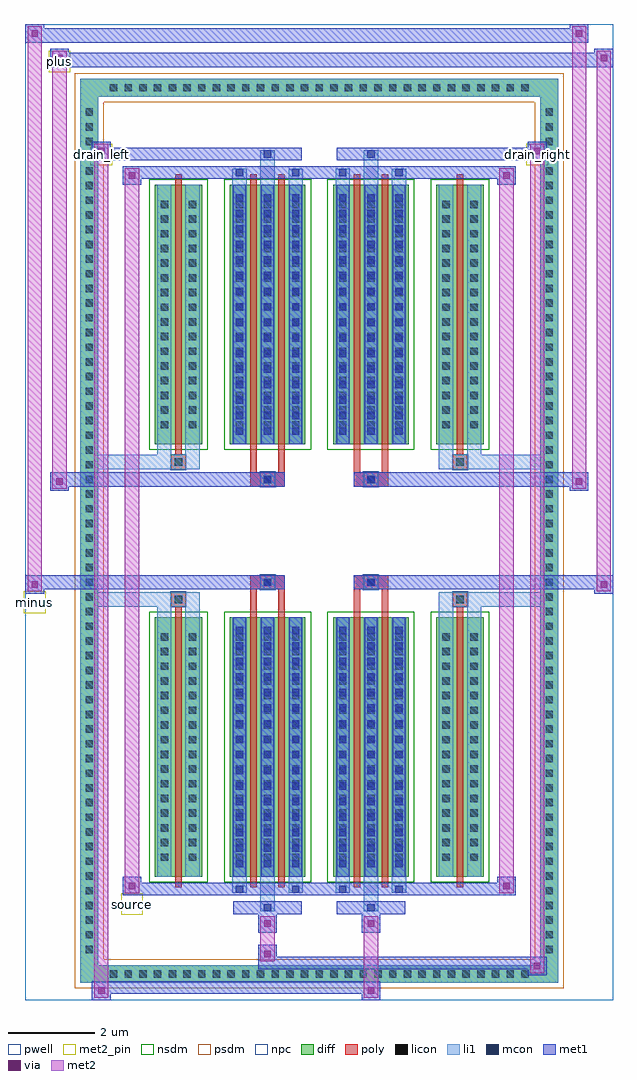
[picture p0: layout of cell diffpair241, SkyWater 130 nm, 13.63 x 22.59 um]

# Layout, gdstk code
import gdstk
lib = gdstk.Library(unit=1e-6, precision=5e-09)
def R(c, l, rs):  # rectangles x0, y0, x1, y1
    for r in rs: c.add(gdstk.rectangle(r[:2], r[2:], *l))
def A(c, l, x, y, w, h, nx, ny, dx, dy):  # array of equal rectangles
    R(c, l, [(x+i*dx, y+j*dy, x+i*dx+w, y+j*dy+h) for i in range(nx) for j in range(ny)])
def P(c, l, *ps):  # polygons
    for p in ps: c.add(gdstk.Polygon(p, *l))
pwell = (64, 44)
diff = (65, 20)
poly = (66, 20)
licon = (66, 44)
li1 = (67, 20)
mcon = (67, 44)
met1 = (68, 20)
via = (68, 44)
met2_pin = (69, 16)
met2 = (69, 20)
nsdm = (93, 44)
psdm = (94, 20)
npc = (95, 20)

diffpair241 = lib.new_cell('diffpair241')
R(diffpair241, pwell, [(-6.8,-10.86,6.8,11.73), (-4.12,-9.05,-0.01,-0.825), (0.01,-9.05,4.12,-0.825), (-4.12,0.825,-0.01,9.05), (0.01,0.825,4.12,9.05)])
A(diffpair241, diff, -4.965, -10.46, 0.41, 0.41, 29, 2, 0.34, 20.51)
A(diffpair241, diff, -5.53, -9.895, 0.41, 0.41, 1, 58, 0, 0.34)
A(diffpair241, diff, 5.12, -9.895, 0.41, 0.41, 1, 58, 0, 0.34)
R(diffpair241, diff, [(-4.965,-10.46,4.965,-10.05), (-5.53,-9.895,-5.12,9.895), (5.12,-9.895,5.53,9.895), (-3.81,-8.005,-2.71,-2.005), (-2.07,-8.005,-0.32,-2.005), (0.32,-8.005,2.07,-2.005), (2.71,-8.005,3.81,-2.005), (-3.81,2.005,-2.71,8.005), (-2.07,2.005,-0.32,8.005), (0.32,2.005,2.07,8.005), (2.71,2.005,3.81,8.005), (-4.965,10.05,4.965,10.46)])
P(diffpair241, diff, [(5.53,10.46),(-5.53,10.46),(-5.53,-10.05),(-5.12,-10.05),(-5.12,10.05),(5.12,10.05),(5.12,-10.05),(-5.12,-10.05),(-5.53,-10.05),(-5.53,-10.46),(5.53,-10.46)])
R(diffpair241, poly, [(-3.335,-8.255,-3.185,-1.755), (-1.595,-8.255,-1.445,-1.755), (-0.945,-8.255,-0.795,-1.755), (0.795,-8.255,0.945,-1.755), (1.445,-8.255,1.595,-1.755), (3.185,-8.255,3.335,-1.755), (-3.425,-1.755,-3.095,-1.425), (-3.425,-1.755,-3.095,-1.425), (-1.595,-1.755,-1.445,-1.355), (-0.945,-1.755,-0.795,-1.355), (0.795,-1.755,0.945,-1.355), (1.445,-1.755,1.595,-1.355), (3.095,-1.755,3.425,-1.425), (3.095,-1.755,3.425,-1.425), (-1.595,-1.355,-0.795,-1.025), (-1.36,-1.355,-1.03,-1.025), (0.795,-1.355,1.595,-1.025), (1.03,-1.355,1.36,-1.025), (-1.595,1.025,-0.795,1.355), (-1.36,1.025,-1.03,1.355), (0.795,1.025,1.595,1.355), (1.03,1.025,1.36,1.355), (-1.595,1.355,-1.445,1.755), (-0.945,1.355,-0.795,1.755), (0.795,1.355,0.945,1.755), (1.445,1.355,1.595,1.755), (-3.425,1.425,-3.095,1.755), (-3.425,1.425,-3.095,1.755), (3.095,1.425,3.425,1.755), (3.095,1.425,3.425,1.755), (-3.335,1.755,-3.185,8.255), (-1.595,1.755,-1.445,8.255), (-0.945,1.755,-0.795,8.255), (0.795,1.755,0.945,8.255), (1.445,1.755,1.595,8.255), (3.185,1.755,3.335,8.255)])
A(diffpair241, licon, -4.845, -10.34, 0.17, 0.17, 29, 2, 0.34, 20.51)
A(diffpair241, licon, -5.41, -9.775, 0.17, 0.17, 1, 58, 0, 0.34)
A(diffpair241, licon, 5.24, -9.775, 0.17, 0.17, 1, 58, 0, 0.34)
A(diffpair241, licon, -3.67, -7.64, 0.17, 0.17, 1, 16, 0, 0.34)
A(diffpair241, licon, -3.02, -7.64, 0.17, 0.17, 1, 16, 0, 0.34)
A(diffpair241, licon, -1.93, -7.64, 0.17, 0.17, 3, 16, 0.65, 0.34)
A(diffpair241, licon, 0.46, -7.64, 0.17, 0.17, 3, 16, 0.65, 0.34)
A(diffpair241, licon, 2.85, -7.64, 0.17, 0.17, 1, 16, 0, 0.34)
A(diffpair241, licon, 3.5, -7.64, 0.17, 0.17, 1, 16, 0, 0.34)
A(diffpair241, licon, -3.67, 2.37, 0.17, 0.17, 1, 16, 0, 0.34)
A(diffpair241, licon, -3.02, 2.37, 0.17, 0.17, 1, 16, 0, 0.34)
A(diffpair241, licon, -1.93, 2.37, 0.17, 0.17, 3, 16, 0.65, 0.34)
A(diffpair241, licon, 0.46, 2.37, 0.17, 0.17, 3, 16, 0.65, 0.34)
A(diffpair241, licon, 2.85, 2.37, 0.17, 0.17, 1, 16, 0, 0.34)
A(diffpair241, licon, 3.5, 2.37, 0.17, 0.17, 1, 16, 0, 0.34)
R(diffpair241, licon, [(-3.345,-1.675,-3.175,-1.505), (3.175,-1.675,3.345,-1.505), (-1.28,-1.275,-1.11,-1.105), (1.11,-1.275,1.28,-1.105), (-1.28,1.105,-1.11,1.275), (1.11,1.105,1.28,1.275), (-3.345,1.505,-3.175,1.675), (3.175,1.505,3.345,1.675)])
A(diffpair241, li1, -4.925, -10.42, 0.33, 0.33, 29, 2, 0.34, 20.51)
A(diffpair241, li1, -5.49, -9.855, 0.33, 0.33, 1, 58, 0, 0.34)
A(diffpair241, li1, 5.16, -9.855, 0.33, 0.33, 1, 58, 0, 0.34)
A(diffpair241, li1, -2.01, -8.005, 0.33, 6, 3, 2, 0.65, 10.01)
A(diffpair241, li1, 0.38, -8.005, 0.33, 6, 3, 2, 0.65, 10.01)
A(diffpair241, li1, -1.93, -7.79, 0.17, 0.17, 3, 16, 0.65, 0.36)
A(diffpair241, li1, -1.93, -7.79, 0.17, 5.57, 3, 2, 0.65, 10.01)
A(diffpair241, li1, 0.46, -7.79, 0.17, 0.17, 3, 16, 0.65, 0.36)
A(diffpair241, li1, 0.46, -7.79, 0.17, 5.57, 3, 2, 0.65, 10.01)
A(diffpair241, li1, -3.75, -7.72, 0.33, 0.33, 1, 16, 0, 0.34)
A(diffpair241, li1, -3.1, -7.72, 0.33, 0.33, 1, 16, 0, 0.34)
A(diffpair241, li1, -2.01, -7.72, 0.33, 0.33, 3, 16, 0.65, 0.34)
A(diffpair241, li1, 0.38, -7.72, 0.33, 0.33, 3, 16, 0.65, 0.34)
A(diffpair241, li1, 2.77, -7.72, 0.33, 0.33, 1, 16, 0, 0.34)
A(diffpair241, li1, 3.42, -7.72, 0.33, 0.33, 1, 16, 0, 0.34)
A(diffpair241, li1, -1.93, 2.22, 0.17, 0.17, 3, 16, 0.65, 0.36)
A(diffpair241, li1, 0.46, 2.22, 0.17, 0.17, 3, 16, 0.65, 0.36)
A(diffpair241, li1, -3.75, 2.29, 0.33, 0.33, 1, 16, 0, 0.34)
A(diffpair241, li1, -3.1, 2.29, 0.33, 0.33, 1, 16, 0, 0.34)
A(diffpair241, li1, -2.01, 2.29, 0.33, 0.33, 3, 16, 0.65, 0.34)
A(diffpair241, li1, 0.38, 2.29, 0.33, 0.33, 3, 16, 0.65, 0.34)
A(diffpair241, li1, 2.77, 2.29, 0.33, 0.33, 1, 16, 0, 0.34)
A(diffpair241, li1, 3.42, 2.29, 0.33, 0.33, 1, 16, 0, 0.34)
R(diffpair241, li1, [(-5.53,-10.46,-5.12,-10.05), (-5.53,-10.46,-5.12,-10.05), (-5.12,-10.46,5.12,-10.05), (5.12,-10.46,5.53,-10.05), (5.12,-10.46,5.53,-10.05), (-5.53,-10.05,-5.12,10.05), (5.12,-10.05,5.53,10.05), (-1.36,-8.81,-1.03,-8.005), (-1.28,-8.81,-1.11,-8.64), (1.03,-8.81,1.36,-8.005), (1.11,-8.81,1.28,-8.64), (-2.01,-8.38,-1.68,-8.005), (-1.93,-8.38,-1.76,-8.21), (-0.71,-8.38,-0.38,-8.005), (-0.63,-8.38,-0.46,-8.21), (0.38,-8.38,0.71,-8.005), (0.46,-8.38,0.63,-8.21), (1.68,-8.38,2.01,-8.005), (1.76,-8.38,1.93,-8.21), (-3.75,-8.005,-3.42,-2.005), (-3.1,-8.005,-2.77,-2.005), (2.77,-8.005,3.1,-2.005), (3.42,-8.005,3.75,-2.005), (-3.75,-2.005,-3.42,-1.425), (-3.1,-2.005,-2.77,-1.425), (2.77,-2.005,3.1,-1.425), (3.42,-2.005,3.75,-1.425), (-5.53,-1.755,-3.425,-1.425), (-3.75,-1.755,-3.425,-1.425), (-3.425,-1.755,-3.095,-1.425), (-3.095,-1.755,-2.77,-1.425), (2.77,-1.755,3.095,-1.425), (3.095,-1.755,3.425,-1.425), (3.095,-1.755,5.53,-1.425), (3.425,-1.755,3.75,-1.425), (-1.36,-1.355,-1.03,-1.025), (1.03,-1.355,1.36,-1.025), (-1.36,1.025,-1.03,1.355), (1.03,1.025,1.36,1.355), (-5.53,1.425,-3.425,1.755), (-3.75,1.425,-3.425,1.755), (-3.75,1.425,-3.42,2.005), (-3.425,1.425,-3.095,1.755), (-3.1,1.425,-2.77,2.005), (-3.095,1.425,-2.77,1.755), (2.77,1.425,3.095,1.755), (2.77,1.425,3.1,2.005), (3.095,1.425,3.425,1.755), (3.095,1.425,5.53,1.755), (3.42,1.425,3.75,2.005), (3.425,1.425,3.75,1.755), (-3.75,2.005,-3.42,8.005), (-3.1,2.005,-2.77,8.005), (2.77,2.005,3.1,8.005), (3.42,2.005,3.75,8.005), (-2.01,8.005,-1.68,8.38), (-1.36,8.005,-1.03,8.81), (-0.71,8.005,-0.38,8.38), (0.38,8.005,0.71,8.38), (1.03,8.005,1.36,8.81), (1.68,8.005,2.01,8.38), (-1.93,8.21,-1.76,8.38), (-0.63,8.21,-0.46,8.38), (0.46,8.21,0.63,8.38), (1.76,8.21,1.93,8.38), (-1.28,8.64,-1.11,8.81), (1.11,8.64,1.28,8.81), (-5.53,10.05,-5.12,10.46), (-5.53,10.05,-5.12,10.46), (-5.12,10.05,5.12,10.46), (5.12,10.05,5.53,10.46), (5.12,10.05,5.53,10.46)])
A(diffpair241, mcon, -1.93, -7.79, 0.17, 0.17, 3, 16, 0.65, 0.36)
A(diffpair241, mcon, 0.46, -7.79, 0.17, 0.17, 3, 16, 0.65, 0.36)
A(diffpair241, mcon, -1.93, 2.22, 0.17, 0.17, 3, 16, 0.65, 0.36)
A(diffpair241, mcon, 0.46, 2.22, 0.17, 0.17, 3, 16, 0.65, 0.36)
R(diffpair241, mcon, [(-1.28,-8.81,-1.11,-8.64), (1.11,-8.81,1.28,-8.64), (-1.93,-8.38,-1.76,-8.21), (-0.63,-8.38,-0.46,-8.21), (0.46,-8.38,0.63,-8.21), (1.76,-8.38,1.93,-8.21), (-1.28,-1.275,-1.11,-1.105), (1.11,-1.275,1.28,-1.105), (-1.28,1.105,-1.11,1.275), (1.11,1.105,1.28,1.275), (-1.93,8.21,-1.76,8.38), (-0.63,8.21,-0.46,8.38), (0.46,8.21,0.63,8.38), (1.76,8.21,1.93,8.38), (-1.28,8.64,-1.11,8.81), (1.11,8.64,1.28,8.81)])
A(diffpair241, met1, -1.99, -8.005, 0.29, 6, 3, 2, 0.65, 10.01)
A(diffpair241, met1, 0.4, -8.005, 0.29, 6, 3, 2, 0.65, 10.01)
A(diffpair241, met1, -1.99, -7.85, 0.29, 0.29, 3, 16, 0.65, 0.36)
A(diffpair241, met1, 0.4, -7.85, 0.29, 0.29, 3, 16, 0.65, 0.36)
A(diffpair241, met1, -1.99, 2.16, 0.29, 0.29, 3, 16, 0.65, 0.36)
A(diffpair241, met1, 0.4, 2.16, 0.29, 0.29, 3, 16, 0.65, 0.36)
R(diffpair241, met1, [(-5.26,-10.86,-4.83,-10.43), (0.98,-10.86,1.41,-10.43), (-5.26,-10.72,1.41,-10.43), (4.83,-10.29,5.26,-9.86), (-1.41,-10.15,5.26,-9.86), (-1.41,-10.01,-0.98,-9.58), (-1.41,-9.3,-0.98,-8.87), (0.98,-9.3,1.41,-8.87), (-1.99,-8.87,-0.4,-8.58), (-1.34,-8.87,-1.05,-8.58), (0.4,-8.87,1.99,-8.58), (1.05,-8.87,1.34,-8.58), (-4.55,-8.44,-4.12,-8.01), (-4.55,-8.44,-1.99,-8.15), (-1.99,-8.44,-1.7,-8.15), (-1.99,-8.44,-0.4,-8.15), (-0.69,-8.44,-0.4,-8.15), (-0.4,-8.44,0.4,-8.15), (0.4,-8.44,0.69,-8.15), (0.4,-8.44,1.99,-8.15), (1.7,-8.44,1.99,-8.15), (1.99,-8.44,4.55,-8.15), (4.12,-8.44,4.55,-8.01), (-6.8,-1.455,-6.37,-1.025), (6.37,-1.455,6.8,-1.025), (-6.8,-1.355,-0.795,-1.025), (-1.595,-1.355,-0.795,-1.025), (0.795,-1.355,1.595,-1.025), (0.795,-1.355,6.8,-1.025), (-1.34,-1.335,-1.05,-1.045), (1.05,-1.335,1.34,-1.045), (-6.23,0.925,-5.8,1.355), (5.8,0.925,6.23,1.355), (-6.23,1.025,-1.595,1.355), (-1.595,1.025,-0.795,1.355), (0.795,1.025,1.595,1.355), (1.595,1.025,6.23,1.355), (-1.34,1.045,-1.05,1.335), (1.05,1.045,1.34,1.335), (-4.55,8.01,-4.12,8.44), (4.12,8.01,4.55,8.44), (-4.55,8.15,-1.99,8.44), (-1.99,8.15,-1.7,8.44), (-1.99,8.15,-0.4,8.44), (-0.69,8.15,-0.4,8.44), (-0.4,8.15,0.4,8.44), (0.4,8.15,0.69,8.44), (0.4,8.15,1.99,8.44), (1.7,8.15,1.99,8.44), (1.99,8.15,4.55,8.44), (-5.26,8.58,-4.83,9.01), (-5.26,8.58,-1.99,8.87), (-1.99,8.58,-0.4,8.87), (-1.34,8.58,-1.05,8.87), (0.4,8.58,1.99,8.87), (1.05,8.58,1.34,8.87), (1.99,8.58,5.26,8.87), (4.83,8.58,5.26,9.01), (-6.23,10.73,-5.8,11.16), (-6.23,10.73,-4.12,11.06), (-4.12,10.73,4.12,11.06), (4.12,10.73,6.8,11.06), (6.37,10.73,6.8,11.16), (-6.8,11.3,-6.37,11.73), (-6.8,11.3,-4.12,11.63), (-4.12,11.3,4.12,11.63), (4.12,11.3,6.23,11.63), (5.8,11.3,6.23,11.73)])
R(diffpair241, via, [(-5.12,-10.72,-4.97,-10.57), (1.12,-10.72,1.27,-10.57), (4.97,-10.15,5.12,-10), (-1.27,-9.87,-1.12,-9.72), (-1.27,-9.16,-1.12,-9.01), (1.12,-9.16,1.27,-9.01), (-4.41,-8.3,-4.26,-8.15), (4.26,-8.3,4.41,-8.15), (-6.66,-1.315,-6.51,-1.165), (6.51,-1.315,6.66,-1.165), (-6.09,1.065,-5.94,1.215), (5.94,1.065,6.09,1.215), (-4.41,8.15,-4.26,8.3), (4.26,8.15,4.41,8.3), (-5.12,8.72,-4.97,8.87), (4.97,8.72,5.12,8.87), (-6.09,10.87,-5.94,11.02), (6.51,10.87,6.66,11.02), (-6.66,11.44,-6.51,11.59), (5.94,11.44,6.09,11.59)])
R(diffpair241, met2_pin, [(-4.585,-8.89,-4.085,-8.39), (-6.835,-1.905,-6.335,-1.405), (-5.295,8.46,-4.795,8.96), (4.795,8.46,5.295,8.96), (-6.265,10.61,-5.765,11.11)])
R(diffpair241, met2, [(-5.21,-10.81,-4.88,-10.48), (-5.21,-10.81,-4.88,8.96), (1.03,-10.81,1.36,-10.48), (1.03,-10.48,1.36,-9.25), (4.88,-10.24,5.21,-9.91), (4.88,-10.24,5.21,8.96), (-1.36,-9.96,-1.03,-9.63), (-1.36,-9.63,-1.03,-9.25), (-1.36,-9.25,-1.03,-8.92), (1.03,-9.25,1.36,-8.92), (-4.5,-8.39,-4.17,-8.06), (-4.5,-8.39,-4.17,8.39), (4.17,-8.39,4.5,-8.06), (4.17,-8.39,4.5,8.39), (-6.75,-1.405,-6.42,-1.075), (-6.75,-1.405,-6.42,11.68), (6.42,-1.405,6.75,-1.075), (6.42,-1.405,6.75,11.11), (-6.18,0.975,-5.85,1.305), (-6.18,0.975,-5.85,11.11), (5.85,0.975,6.18,1.305), (5.85,0.975,6.18,11.68), (-4.5,8.06,-4.17,8.39), (4.17,8.06,4.5,8.39), (-5.21,8.63,-4.88,8.96), (4.88,8.63,5.21,8.96), (-6.18,10.78,-5.85,11.11), (6.42,10.78,6.75,11.11), (-6.75,11.35,-6.42,11.68), (5.85,11.35,6.18,11.68)])
P(diffpair241, met2, [(6.75,-1.405),(6.75,-1.405),(6.75,-1.075),(6.75,-1.075)],
  [(6.75,10.78),(6.75,10.78),(6.75,11.11),(6.75,11.11)],
  [(-6.42,-1.405),(-6.42,-1.405),(-6.42,-1.075),(-6.42,-1.075)],
  [(-6.42,11.35),(-6.42,11.35),(-6.42,11.68),(-6.42,11.68)],
  [(6.18,0.975),(6.18,0.975),(6.18,1.305),(6.18,1.305)],
  [(6.18,11.35),(6.18,11.35),(6.18,11.68),(6.18,11.68)],
  [(-5.85,0.975),(-5.85,0.975),(-5.85,1.305),(-5.85,1.305)],
  [(-5.85,10.78),(-5.85,10.78),(-5.85,11.11),(-5.85,11.11)],
  [(-4.88,-10.81),(-4.88,-10.81),(-4.88,-10.48),(-4.88,-10.48)],
  [(-4.88,8.63),(-4.88,8.63),(-4.88,8.96),(-4.88,8.96)],
  [(5.21,-10.24),(5.21,-10.24),(5.21,-9.91),(5.21,-9.91)],
  [(5.21,8.63),(5.21,8.63),(5.21,8.96),(5.21,8.96)],
  [(-4.17,-8.39),(-4.17,-8.39),(-4.17,-8.06),(-4.17,-8.06)],
  [(-4.17,8.06),(-4.17,8.06),(-4.17,8.39),(-4.17,8.39)],
  [(4.5,-8.39),(4.5,-8.39),(4.5,-8.06),(4.5,-8.06)],
  [(4.5,8.06),(4.5,8.06),(4.5,8.39),(4.5,8.39)])
R(diffpair241, nsdm, [(-3.94,-8.135,-2.58,-1.875), (-2.2,-8.135,-0.19,-1.875), (0.19,-8.135,2.2,-1.875), (2.58,-8.135,3.94,-1.875), (-3.94,1.875,-2.58,8.135), (-2.2,1.875,-0.19,8.135), (0.19,1.875,2.2,8.135), (2.58,1.875,3.94,8.135)])
P(diffpair241, psdm, [(5.66,10.59),(-5.66,10.59),(-5.66,-9.92),(-4.99,-9.92),(-4.99,9.92),(4.99,9.92),(4.99,-9.92),(-4.99,-9.92),(-5.66,-9.92),(-5.66,-10.59),(5.66,-10.59)])
R(diffpair241, npc, [(-3.445,-1.775,-3.075,-1.405), (3.075,-1.775,3.445,-1.405), (-1.38,-1.375,-1.01,-1.005), (1.01,-1.375,1.38,-1.005), (-1.38,1.005,-1.01,1.375), (1.01,1.005,1.38,1.375), (-3.445,1.405,-3.075,1.775), (3.075,1.405,3.445,1.775)])
diffpair241.add(gdstk.Label('minus', (-6.585,-1.655), layer=69, texttype=5))
diffpair241.add(gdstk.Label('drain_right', (5.045,8.71), layer=69, texttype=5))
diffpair241.add(gdstk.Label('drain_left', (-5.045,8.71), layer=69, texttype=5))
diffpair241.add(gdstk.Label('source', (-4.335,-8.64), layer=69, texttype=5))
diffpair241.add(gdstk.Label('plus', (-6.015,10.86), layer=69, texttype=5))

lib.write_gds('diffpair241.gds')
